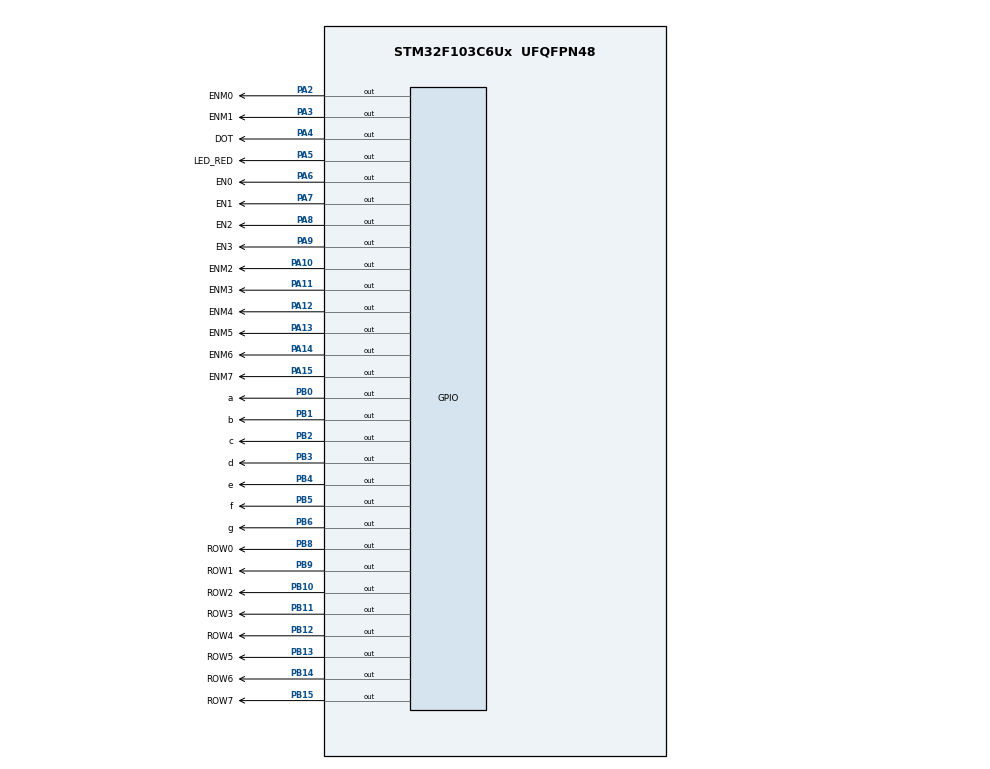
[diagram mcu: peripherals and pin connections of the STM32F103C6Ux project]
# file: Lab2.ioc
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Mcu.Family=STM32F1
Mcu.Name=STM32F103C6Ux
Mcu.Package=UFQFPN48
NVIC.PriorityGroup=NVIC_PRIORITYGROUP_4
NVIC.TIM2_IRQn=true\:0\:0\:false\:false\:true\:true\:true
PA10.GPIO_Label=ENM2
PA10.Signal=GPIO_Output
PA11.GPIO_Label=ENM3
PA11.Signal=GPIO_Output
PA12.GPIO_Label=ENM4
PA12.Signal=GPIO_Output
PA13.GPIO_Label=ENM5
PA13.Signal=GPIO_Output
PA14.GPIO_Label=ENM6
PA14.Signal=GPIO_Output
PA15.GPIO_Label=ENM7
PA15.Signal=GPIO_Output
PA2.GPIO_Label=ENM0
PA2.Signal=GPIO_Output
PA3.GPIO_Label=ENM1
PA3.Signal=GPIO_Output
PA4.GPIO_Label=DOT
PA4.Signal=GPIO_Output
PA5.GPIO_Label=LED_RED
PA5.Signal=GPIO_Output
PA6.GPIO_Label=EN0
PA6.Signal=GPIO_Output
PA7.GPIO_Label=EN1
PA7.Signal=GPIO_Output
PA8.GPIO_Label=EN2
PA8.Signal=GPIO_Output
PA9.GPIO_Label=EN3
PA9.Signal=GPIO_Output
PB0.GPIO_Label=a
PB0.Signal=GPIO_Output
PB1.GPIO_Label=b
PB1.Signal=GPIO_Output
PB10.GPIO_Label=ROW2
PB10.Signal=GPIO_Output
PB11.GPIO_Label=ROW3
PB11.Signal=GPIO_Output
PB12.GPIO_Label=ROW4
PB12.Signal=GPIO_Output
PB13.GPIO_Label=ROW5
PB13.Signal=GPIO_Output
PB14.GPIO_Label=ROW6
PB14.Signal=GPIO_Output
PB15.GPIO_Label=ROW7
PB15.Signal=GPIO_Output
PB2.GPIO_Label=c
PB2.Signal=GPIO_Output
PB3.GPIO_Label=d
PB3.Signal=GPIO_Output
PB4.GPIO_Label=e
PB4.Signal=GPIO_Output
PB5.GPIO_Label=f
PB5.Signal=GPIO_Output
PB6.GPIO_Label=g
PB6.Signal=GPIO_Output
PB8.GPIO_Label=ROW0
PB8.Signal=GPIO_Output
PB9.GPIO_Label=ROW1
PB9.Signal=GPIO_Output
ProjectManager.HeapSize=0x200
ProjectManager.StackSize=0x400
ProjectManager.TargetToolchain=STM32CubeIDE
RCC.APB1Freq_Value=8000000
RCC.APB2Freq_Value=8000000
TIM2.Period=9
TIM2.Prescaler=7999
VP_SYS_VS_ND.Mode=No_Debug
VP_TIM2_VS_ClockSourceINT.Mode=Internal
board=custom

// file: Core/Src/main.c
/* USER CODE BEGIN Header */
/**
  ******************************************************************************
  * @file           : main.c
  * @brief          : Main program body
  ******************************************************************************
  * @attention
  *
  * <h2><center>&copy; Copyright (c) 2024 STMicroelectronics.
  * All rights reserved.</center></h2>
  *
  * This software component is licensed by ST under BSD 3-Clause license,
  * the "License"; You may not use this file except in compliance with the
  * License. You may obtain a copy of the License at:
  *                        opensource.org/licenses/BSD-3-Clause
  *
  ******************************************************************************
  */
/* USER CODE END Header */
#include "main.h"

TIM_HandleTypeDef htim2;

void SystemClock_Config(void);
static void MX_TIM2_Init(void);
static void MX_GPIO_Init(void);

/* USER CODE BEGIN 0 */
void display7SEG(int counter){
	HAL_GPIO_WritePin(a_GPIO_Port, a_Pin, RESET);
	HAL_GPIO_WritePin(b_GPIO_Port, b_Pin, RESET);
	HAL_GPIO_WritePin(c_GPIO_Port, c_Pin, RESET);
	HAL_GPIO_WritePin(d_GPIO_Port, d_Pin, RESET);
	HAL_GPIO_WritePin(e_GPIO_Port, e_Pin, RESET);
	HAL_GPIO_WritePin(f_GPIO_Port, f_Pin, RESET);
	HAL_GPIO_WritePin(g_GPIO_Port, g_Pin, RESET);
	if(counter==0){
		HAL_GPIO_TogglePin(GPIOB, GPIO_PIN_6);
	}
	if(counter==1){
		HAL_GPIO_TogglePin(GPIOB, GPIO_PIN_0);
		HAL_GPIO_TogglePin(GPIOB, GPIO_PIN_3);
		HAL_GPIO_TogglePin(GPIOB, GPIO_PIN_4);
		HAL_GPIO_TogglePin(GPIOB, GPIO_PIN_5);
		HAL_GPIO_TogglePin(GPIOB, GPIO_PIN_6);
	}
	if(counter==2){
		HAL_GPIO_TogglePin(GPIOB, GPIO_PIN_2);
		HAL_GPIO_TogglePin(GPIOB, GPIO_PIN_5);
	}
	if(counter==3){
		HAL_GPIO_TogglePin(GPIOB, GPIO_PIN_4);
		HAL_GPIO_TogglePin(GPIOB, GPIO_PIN_5);
	}
	if(counter==4){
		HAL_GPIO_TogglePin(GPIOB, GPIO_PIN_0);
		HAL_GPIO_TogglePin(GPIOB, GPIO_PIN_3);
		HAL_GPIO_TogglePin(GPIOB, GPIO_PIN_4);
	}
	if(counter==5){
		HAL_GPIO_TogglePin(GPIOB, GPIO_PIN_1);
		HAL_GPIO_TogglePin(GPIOB, GPIO_PIN_4);
	}
	if(counter==6){
		HAL_GPIO_TogglePin(GPIOB, GPIO_PIN_1);
	}
	if(counter==7){
		HAL_GPIO_TogglePin(GPIOB, GPIO_PIN_3);
		HAL_GPIO_TogglePin(GPIOB, GPIO_PIN_4);
		HAL_GPIO_TogglePin(GPIOB, GPIO_PIN_5);
		HAL_GPIO_TogglePin(GPIOB, GPIO_PIN_6);
	}
	if(counter==9){
		HAL_GPIO_TogglePin(GPIOB, GPIO_PIN_4);
	}
}
void update7SEG (int index, int data){
	switch (index){
		case 0:
			HAL_GPIO_WritePin(EN0_GPIO_Port, EN0_Pin, RESET);
			HAL_GPIO_WritePin(EN1_GPIO_Port, EN1_Pin, SET);
			HAL_GPIO_WritePin(EN2_GPIO_Port, EN2_Pin, SET);
			HAL_GPIO_WritePin(EN3_GPIO_Port, EN3_Pin, SET);
			display7SEG(data);
			break;
		case 1:
			HAL_GPIO_WritePin(EN0_GPIO_Port, EN0_Pin, SET);
			HAL_GPIO_WritePin(EN1_GPIO_Port, EN1_Pin, RESET);
			HAL_GPIO_WritePin(EN2_GPIO_Port, EN2_Pin, SET);
			HAL_GPIO_WritePin(EN3_GPIO_Port, EN3_Pin, SET);
			display7SEG(data);
			break;
		case 2:
			HAL_GPIO_WritePin(EN0_GPIO_Port, EN0_Pin, SET);
			HAL_GPIO_WritePin(EN1_GPIO_Port, EN1_Pin, SET);
			HAL_GPIO_WritePin(EN2_GPIO_Port, EN2_Pin, RESET);
			HAL_GPIO_WritePin(EN3_GPIO_Port, EN3_Pin, SET);
			display7SEG(data);
			break;
		case 3:
			HAL_GPIO_WritePin(EN0_GPIO_Port, EN0_Pin, SET);
			HAL_GPIO_WritePin(EN1_GPIO_Port, EN1_Pin, SET);
			HAL_GPIO_WritePin(EN2_GPIO_Port, EN2_Pin, SET);
			HAL_GPIO_WritePin(EN3_GPIO_Port, EN3_Pin, RESET);
			display7SEG(data);
			break;
		default:
			break;
	}
}
int led_buffer [4] = {0, 0, 0, 0};
int* updateClockBuffer(int hour, int minute){
	led_buffer[0]=hour/10;
	led_buffer[1]=hour%10;
	led_buffer[2]=minute/10;
	led_buffer[3]=minute%10;
	return led_buffer;
}
int timer0_counter=0;
int timer0_flag=0;
int TIMER_CYCLE=10;
void setTimer0(int duration){
	timer0_counter=duration/TIMER_CYCLE;
	timer0_flag=0;
}
void timer_run(){
	if(timer0_counter>0)
		timer0_counter--;
	if(timer0_counter==0)
		timer0_flag=1;
}
/* USER CODE END 0 */

int main(void)
{

  /* MCU Configuration--------------------------------------------------------*/

  /* Reset of all peripherals, Initializes the Flash interface and the Systick. */
  HAL_Init();

  /* Configure the system clock */
  SystemClock_Config();

  /* Initialize all configured peripherals */
  MX_TIM2_Init();
  MX_GPIO_Init();
  /* USER CODE BEGIN 2 */
  HAL_TIM_Base_Start_IT(&htim2);
  /* USER CODE END 2 */

  /* Infinite loop */
  /* USER CODE BEGIN WHILE */
  setTimer0(1000);
  int hour=16, minute=23, second=55;
  updateClockBuffer(hour, minute);
  while (1)
  {
    /* USER CODE END WHILE */
	  if(timer0_flag==1){
	  		  second++;
	  		  if(second>=60){
	  			  second=0;
	  			  minute++;
	  		  }
	  		  if(minute>=60){
	  			  minute=0;
	  			  hour++;
	  		  }
	  		  if(hour>=24){
	  			  hour++;
	  		  }
	  		  HAL_GPIO_TogglePin(DOT_GPIO_Port, DOT_Pin);
	  		  HAL_GPIO_TogglePin ( LED_RED_GPIO_Port , LED_RED_Pin );
	  		  updateClockBuffer(hour, minute);
	  		  setTimer0(1000);
	  	  }
  }
}

void SystemClock_Config(void)
{
  RCC_OscInitTypeDef RCC_OscInitStruct = {0};
  RCC_ClkInitTypeDef RCC_ClkInitStruct = {0};

  /** Initializes the RCC Oscillators according to the specified parameters
  * in the RCC_OscInitTypeDef structure.
  */
  RCC_OscInitStruct.OscillatorType = RCC_OSCILLATORTYPE_HSI;
  RCC_OscInitStruct.HSIState = RCC_HSI_ON;
  RCC_OscInitStruct.HSICalibrationValue = RCC_HSICALIBRATION_DEFAULT;
  RCC_OscInitStruct.PLL.PLLState = RCC_PLL_NONE;
  if (HAL_RCC_OscConfig(&RCC_OscInitStruct) != HAL_OK)
  {
    Error_Handler();
  }
  /** Initializes the CPU, AHB and APB buses clocks
  */
  RCC_ClkInitStruct.ClockType = RCC_CLOCKTYPE_HCLK|RCC_CLOCKTYPE_SYSCLK
                              |RCC_CLOCKTYPE_PCLK1|RCC_CLOCKTYPE_PCLK2;
  RCC_ClkInitStruct.SYSCLKSource = RCC_SYSCLKSOURCE_HSI;
  RCC_ClkInitStruct.AHBCLKDivider = RCC_SYSCLK_DIV1;
  RCC_ClkInitStruct.APB1CLKDivider = RCC_HCLK_DIV1;
  RCC_ClkInitStruct.APB2CLKDivider = RCC_HCLK_DIV1;

  if (HAL_RCC_ClockConfig(&RCC_ClkInitStruct, FLASH_LATENCY_0) != HAL_OK)
  {
    Error_Handler();
  }
}

static void MX_TIM2_Init(void)
{

  TIM_ClockConfigTypeDef sClockSourceConfig = {0};
  TIM_MasterConfigTypeDef sMasterConfig = {0};

  htim2.Instance = TIM2;
  htim2.Init.Prescaler = 7999;
  htim2.Init.CounterMode = TIM_COUNTERMODE_UP;
  htim2.Init.Period = 9;
  htim2.Init.ClockDivision = TIM_CLOCKDIVISION_DIV1;
  htim2.Init.AutoReloadPreload = TIM_AUTORELOAD_PRELOAD_DISABLE;
  if (HAL_TIM_Base_Init(&htim2) != HAL_OK)
  {
    Error_Handler();
  }
  sClockSourceConfig.ClockSource = TIM_CLOCKSOURCE_INTERNAL;
  if (HAL_TIM_ConfigClockSource(&htim2, &sClockSourceConfig) != HAL_OK)
  {
    Error_Handler();
  }
  sMasterConfig.MasterOutputTrigger = TIM_TRGO_RESET;
  sMasterConfig.MasterSlaveMode = TIM_MASTERSLAVEMODE_DISABLE;
  if (HAL_TIMEx_MasterConfigSynchronization(&htim2, &sMasterConfig) != HAL_OK)
  {
    Error_Handler();
  }

}

static void MX_GPIO_Init(void)
{
  GPIO_InitTypeDef GPIO_InitStruct = {0};

  /* GPIO Ports Clock Enable */
  __HAL_RCC_GPIOA_CLK_ENABLE();
  __HAL_RCC_GPIOB_CLK_ENABLE();

  /*Configure GPIO pin Output Level */
  HAL_GPIO_WritePin(GPIOA, DOT_Pin|LED_RED_Pin|EN0_Pin|EN1_Pin
                          |EN2_Pin|EN3_Pin, GPIO_PIN_RESET);

  /*Configure GPIO pin Output Level */
  HAL_GPIO_WritePin(GPIOB, a_Pin|b_Pin|c_Pin|d_Pin
                          |e_Pin|f_Pin|g_Pin, GPIO_PIN_RESET);

  /*Configure GPIO pins : DOT_Pin LED_RED_Pin EN0_Pin EN1_Pin
                           EN2_Pin EN3_Pin */
  GPIO_InitStruct.Pin = DOT_Pin|LED_RED_Pin|EN0_Pin|EN1_Pin
                          |EN2_Pin|EN3_Pin;
  GPIO_InitStruct.Mode = GPIO_MODE_OUTPUT_PP;
  GPIO_InitStruct.Pull = GPIO_NOPULL;
  GPIO_InitStruct.Speed = GPIO_SPEED_FREQ_LOW;
  HAL_GPIO_Init(GPIOA, &GPIO_InitStruct);

  /*Configure GPIO pins : a_Pin b_Pin c_Pin d_Pin
                           e_Pin f_Pin g_Pin */
  GPIO_InitStruct.Pin = a_Pin|b_Pin|c_Pin|d_Pin
                          |e_Pin|f_Pin|g_Pin;
  GPIO_InitStruct.Mode = GPIO_MODE_OUTPUT_PP;
  GPIO_InitStruct.Pull = GPIO_NOPULL;
  GPIO_InitStruct.Speed = GPIO_SPEED_FREQ_LOW;
  HAL_GPIO_Init(GPIOB, &GPIO_InitStruct);

}

/* USER CODE BEGIN 4 */

const int MAX_LED = 4;
int index_led = 0;
int counter=25;
int time_led=0;
void HAL_TIM_PeriodElapsedCallback(TIM_HandleTypeDef *htim){
	timer_run();
	if (counter <= 0) {
		counter = 25;

		if (index_led >= MAX_LED) {
			index_led = 0;
			time_led=0;
		}
		update7SEG(index_led++,led_buffer[time_led++]);
	}
	counter--;
}
/* USER CODE END 4 */

void Error_Handler(void)
{
  __disable_irq();
  while (1)
  {
  }
}

/************************ (C) COPYRIGHT STMicroelectronics *****END OF FILE****/
